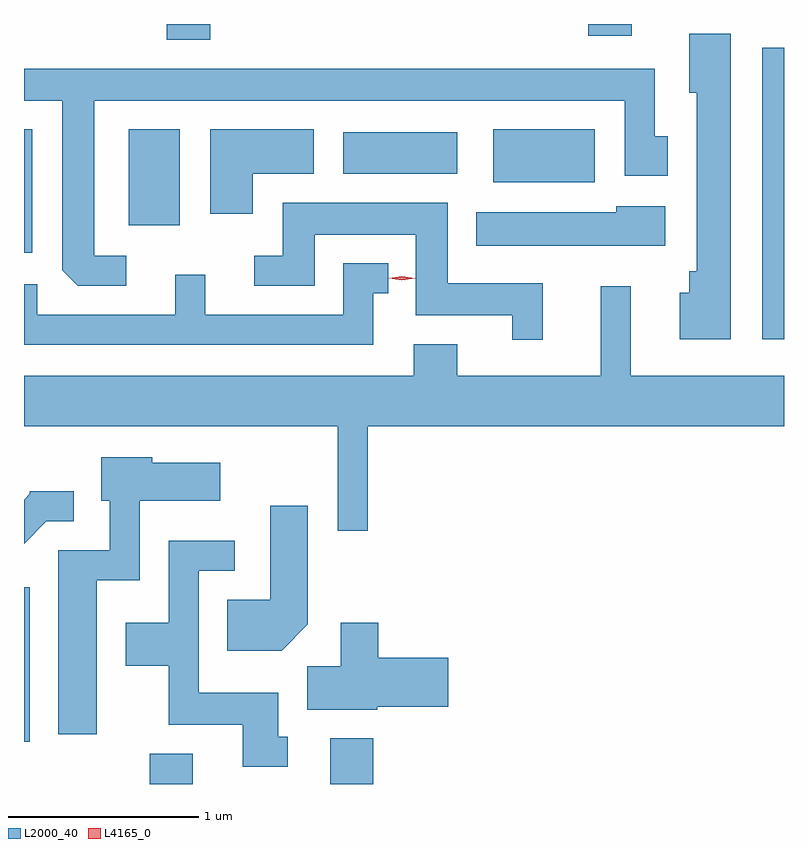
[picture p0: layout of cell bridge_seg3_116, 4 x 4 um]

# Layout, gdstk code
import gdstk
lib = gdstk.Library(unit=1e-6, precision=1e-09)
def R(c, l, rs):  # rectangles x0, y0, x1, y1
    for r in rs: c.add(gdstk.rectangle(r[:2], r[2:], *l))
def P(c, l, *ps):  # polygons
    for p in ps: c.add(gdstk.Polygon(p, *l))
L2000_40 = (2000, 40)
L4165_0 = (4165, 0)

bridge_seg3_116 = lib.new_cell('bridge_seg3_116')
R(bridge_seg3_116, L2000_40, [(1078.241,1215.154,1078.469,1215.314), (1079.191,1215.154,1079.419,1215.394), (1077.58,1215.376,1077.609,1216.189), (1081.466,1217.496,1081.58,1219.029), (1077.58,1217.951,1077.624,1218.599), (1078.131,1218.096,1078.399,1218.599), (1080.051,1218.321,1080.584,1218.599), (1079.261,1218.366,1079.859,1218.584), (1078.331,1219.071,1078.559,1219.154), (1080.551,1219.091,1080.779,1219.154)])
P(bridge_seg3_116, L2000_40, [(1081.299,1219.104),(1081.081,1219.104),(1081.081,1218.791),(1081.121,1218.791),(1081.121,1217.854),(1081.081,1217.854),(1081.081,1217.739),(1081.031,1217.739),(1081.031,1217.496),(1081.299,1217.496)],
  [(1078.118,1217.934),(1077.949,1217.934),(1077.949,1218.751),(1080.741,1218.751),(1080.741,1218.356),(1080.969,1218.356),(1080.969,1218.564),(1080.899,1218.564),(1080.899,1218.919),(1077.58,1218.919),(1077.58,1218.751),(1077.781,1218.751),(1077.781,1217.857),(1077.862,1217.776),(1078.118,1217.776)],
  [(1078.784,1218.366),(1079.104,1218.366),(1079.104,1218.599),(1078.561,1218.599),(1078.561,1218.156),(1078.784,1218.156)],
  [(1080.309,1217.789),(1079.809,1217.789),(1079.809,1218.214),(1078.941,1218.214),(1078.941,1217.934),(1078.793,1217.934),(1078.793,1217.776),(1079.109,1217.776),(1079.109,1218.046),(1079.641,1218.046),(1079.641,1217.621),(1080.151,1217.621),(1080.151,1217.493),(1080.309,1217.493)],
  [(1080.954,1218.194),(1080.696,1218.194),(1080.696,1218.164),(1079.961,1218.164),(1079.961,1217.986),(1080.954,1217.986)],
  [(1079.419,1217.736),(1079.498,1217.736),(1079.498,1217.894),(1079.261,1217.894),(1079.261,1217.624),(1078.534,1217.624),(1078.534,1217.833),(1078.376,1217.833),(1078.376,1217.624),(1077.649,1217.624),(1077.649,1217.784),(1077.58,1217.784),(1077.58,1217.466),(1079.419,1217.466)],
  [(1079.389,1217.036),(1081.58,1217.036),(1081.58,1217.304),(1080.774,1217.304),(1080.774,1217.773),(1080.616,1217.773),(1080.616,1217.304),(1079.859,1217.304),(1079.859,1217.469),(1079.631,1217.469),(1079.631,1217.304),(1077.58,1217.304),(1077.58,1217.036),(1079.231,1217.036),(1079.231,1216.488),(1079.389,1216.488)],
  [(1077.964,1216.226),(1078.189,1216.226),(1078.189,1216.646),(1078.614,1216.646),(1078.614,1216.844),(1078.254,1216.844),(1078.254,1216.874),(1077.986,1216.874),(1077.986,1216.646),(1078.031,1216.646),(1078.031,1216.384),(1077.761,1216.384),(1077.761,1215.416),(1077.964,1215.416)],
  [(1077.697,1216.536),(1077.843,1216.536),(1077.843,1216.694),(1077.61,1216.694),(1077.61,1216.681),(1077.58,1216.651),(1077.58,1216.419)],
  [(1079.074,1215.994),(1079.074,1216.619),(1078.876,1216.619),(1078.876,1216.124),(1078.651,1216.124),(1078.651,1215.856),(1078.937,1215.856)],
  [(1078.968,1215.404),(1078.919,1215.404),(1078.919,1215.634),(1078.499,1215.634),(1078.499,1216.276),(1078.688,1216.276),(1078.688,1216.434),(1078.341,1216.434),(1078.341,1216.004),(1078.116,1216.004),(1078.116,1215.776),(1078.341,1215.776),(1078.341,1215.466),(1078.731,1215.466),(1078.731,1215.246),(1078.968,1215.246)],
  [(1079.44,1215.561),(1079.814,1215.561),(1079.814,1215.819),(1079.444,1215.819),(1079.444,1216.004),(1079.246,1216.004),(1079.246,1215.774),(1079.071,1215.774),(1079.071,1215.546),(1079.44,1215.546)])
P(bridge_seg3_116, L4165_0, [(1079.568,1217.806),(1079.499,1217.815),(1079.499,1217.816),(1079.499,1217.816),(1079.568,1217.826),(1079.638,1217.817),(1079.638,1217.816),(1079.638,1217.816)])

lib.write_gds('bridge_seg3_116.gds')
